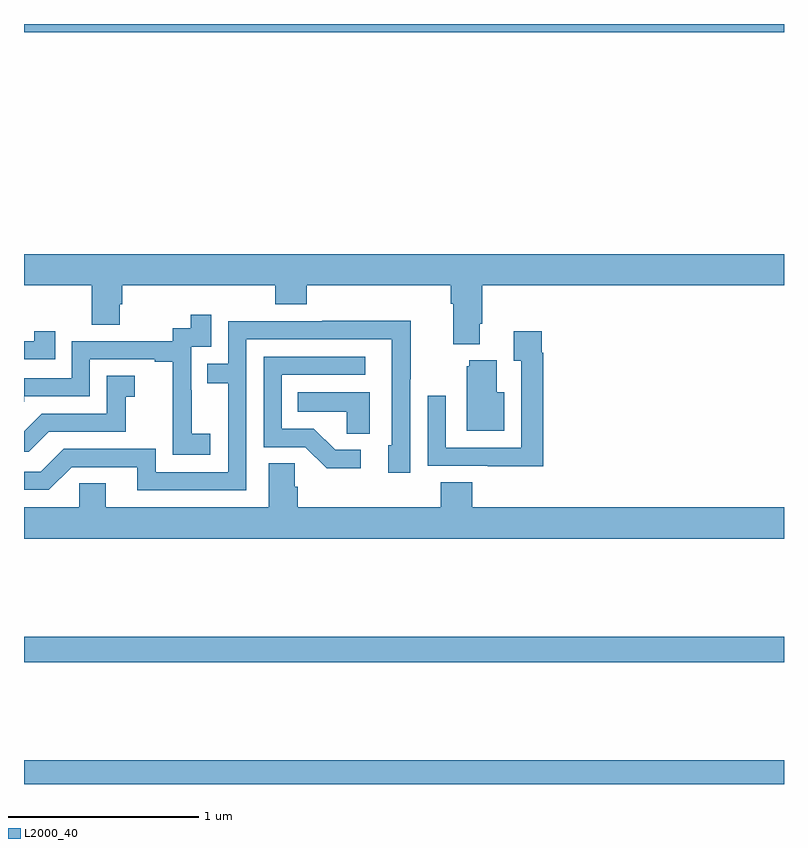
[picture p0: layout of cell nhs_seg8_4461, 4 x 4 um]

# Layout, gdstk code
import gdstk
lib = gdstk.Library(unit=1e-6, precision=1e-09)
def R(c, l, rs):  # rectangles x0, y0, x1, y1
    for r in rs: c.add(gdstk.rectangle(r[:2], r[2:], *l))
def P(c, l, *ps):  # polygons
    for p in ps: c.add(gdstk.Polygon(p, *l))
L2000_40 = (2000, 40)

nhs_seg8_4461 = lib.new_cell('nhs_seg8_4461')
R(nhs_seg8_4461, L2000_40, [(383,1089.9,387,1090.024), (383,1090.54,387,1090.676), (383,1093.856,387,1093.9)])
P(nhs_seg8_4461, L2000_40, [(385.399,1092.322),(385.412,1092.322),(385.412,1092.524),(387,1092.524),(387,1092.688),(383,1092.688),(383,1092.524),(383.356,1092.524),(383.356,1092.316),(383.503,1092.316),(383.503,1092.426),(383.516,1092.426),(383.516,1092.524),(384.323,1092.524),(384.323,1092.425),(384.488,1092.425),(384.488,1092.524),(385.247,1092.524),(385.247,1092.428),(385.259,1092.428),(385.259,1092.215),(385.399,1092.215)],
  [(383.98,1091.743),(383.882,1091.743),(383.882,1091.972),(383.88,1091.972),(383.88,1092.201),(383.985,1092.201),(383.985,1092.37),(383.877,1092.37),(383.877,1092.3),(383.784,1092.3),(383.784,1092.231),(383.25,1092.231),(383.25,1092.036),(383,1092.036),(383,1091.913),(383.001,1091.913),(383.001,1091.94),(383.346,1091.94),(383.346,1092.135),(383.687,1092.135),(383.687,1092.123),(383.783,1092.123),(383.783,1091.839),(383.782,1091.839),(383.782,1091.633),(383.98,1091.633)],
  [(384.171,1092.24),(384.936,1092.24),(384.936,1091.682),(384.917,1091.682),(384.917,1091.538),(385.032,1091.538),(385.032,1092.031),(385.035,1092.031),(385.035,1092.338),(384.571,1092.338),(384.571,1092.336),(384.075,1092.336),(384.075,1092.111),(383.965,1092.111),(383.965,1092.01),(384.075,1092.01),(384.075,1091.541),(383.694,1091.541),(383.694,1091.664),(383.208,1091.664),(383.088,1091.544),(383,1091.544),(383,1091.448),(383.13,1091.448),(383.25,1091.568),(383.597,1091.568),(383.597,1091.445),(384.171,1091.445)],
  [(383.165,1092.283),(383.054,1092.283),(383.054,1092.231),(383,1092.231),(383,1092.135),(383.165,1092.135)],
  [(385.733,1092.17),(385.726,1092.17),(385.726,1092.283),(385.577,1092.283),(385.577,1092.127),(385.617,1092.127),(385.617,1091.67),(385.221,1091.67),(385.221,1091.944),(385.125,1091.944),(385.125,1091.574),(385.441,1091.574),(385.441,1091.573),(385.733,1091.573)],
  [(384.772,1091.658),(384.637,1091.658),(384.526,1091.769),(384.357,1091.769),(384.357,1092.054),(384.796,1092.054),(384.796,1092.15),(384.261,1092.15),(384.261,1091.673),(384.48,1091.673),(384.593,1091.561),(384.772,1091.561)],
  [(385.528,1091.962),(385.489,1091.962),(385.489,1092.13),(385.343,1092.13),(385.343,1092.099),(385.331,1092.099),(385.331,1091.759),(385.528,1091.759)],
  [(383.131,1091.754),(383.535,1091.754),(383.535,1091.939),(383.584,1091.939),(383.584,1092.049),(383.436,1092.049),(383.436,1091.85),(383.094,1091.85),(383,1091.756),(383,1091.649),(383.026,1091.649)],
  [(384.82,1091.962),(384.442,1091.962),(384.442,1091.858),(384.699,1091.858),(384.699,1091.743),(384.82,1091.743)],
  [(383.292,1091.483),(383.292,1091.356),(383,1091.356),(383,1091.192),(387,1091.192),(387,1091.356),(385.358,1091.356),(385.358,1091.489),(385.193,1091.489),(385.193,1091.356),(384.44,1091.356),(384.44,1091.465),(384.426,1091.465),(384.426,1091.588),(384.287,1091.588),(384.287,1091.356),(383.431,1091.356),(383.431,1091.483)])

lib.write_gds('nhs_seg8_4461.gds')
